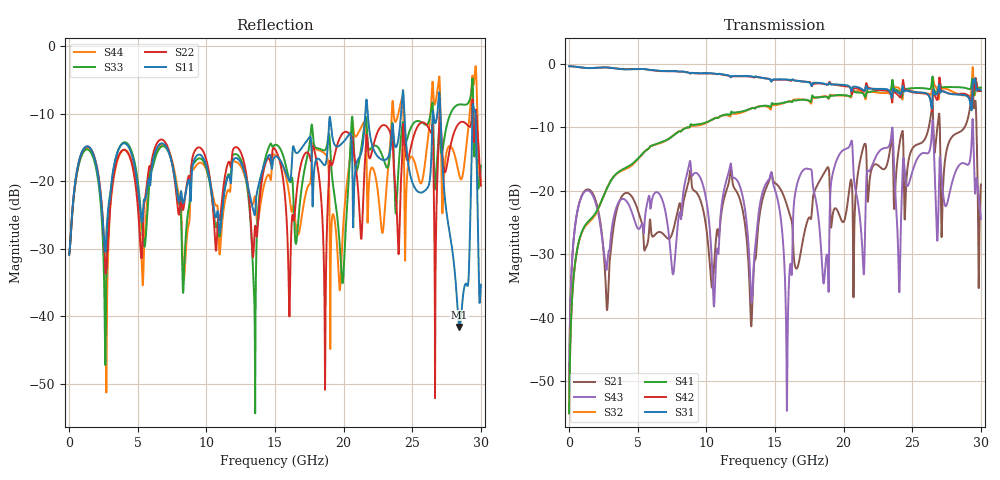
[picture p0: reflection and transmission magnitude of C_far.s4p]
!MTL model of C_far, calibrated on full-wave A (medium)
# Hz S RI R 50.0
!freq ReS11 ImS11 ReS12 ImS12 ReS13 ImS13
! ReS14 ImS14
! ReS21 ImS21 ReS22 ImS22 ReS23 ImS23
! ReS24 ImS24
! ReS31 ImS31 ReS32 ImS32 ReS33 ImS33
! ReS34 ImS34
! ReS41 ImS41 ReS42 ImS42 ReS43 ImS43
! ReS44 ImS44
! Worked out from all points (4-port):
!   3000 points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, 10 MHz to 30 GHz, reference 50 ohm
!   strongest paths, dB at 10 MHz, 7.51 GHz, 15.01 GHz, 22.51 GHz, 30 GHz:
!     S31: -0.4, -1.2, -2.5, -4.0, -4.2
!     S42: -0.4, -1.2, -2.5, -4.2, -4.3
!     S41: -55.0, -11.5, -6.4, -4.2, -3.8
!     S32: -55.0, -11.5, -6.5, -4.6, -3.8
!     S43: -54.4, -32.4, -19.9, -14.1, -24.4
!     S21: -54.5, -26.8, -18.8, -16.0, -19.0
!   lowest |S11| = -41.6 dB at 28.44 GHz (marker M1), VSWR 1.02, Z = 50.3 - j0.781 ohm
!   |S11| at or under -10 dB: start of sweep to 21.58 GHz; 21.76 GHz to 24.19 GHz (2.421 GHz wide, 10.5 % of centre); 27.05 GHz to 29.39 GHz (2.334 GHz wide, 8.27 % of centre)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
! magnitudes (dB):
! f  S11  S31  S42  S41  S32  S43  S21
! 10 MHz  -30.9  -0.4  -0.4  -55.0  -55.0  -54.4  -54.5
! 1.03 GHz  -15.3  -0.7  -0.7  -26.0  -26.2  -20.5  -20.4
! 5.9 GHz  -20.5  -1.0  -1.0  -13.1  -13.0  -22.0  -24.5
! 26.92 GHz  -7.7  -3.6  -4.1  -4.7  -5.6  -21.7  -8.3
! 28.44 GHz  -41.6  -4.9  -4.8  -3.7  -4.9  -15.9  -10.8
! 29.5 GHz  -9.4  -3.0  -4.2  -5.1  -4.0  -15.8  -7.0
! 30 GHz  -35.3  -4.2  -4.3  -3.8  -3.8  -24.4  -19.0
